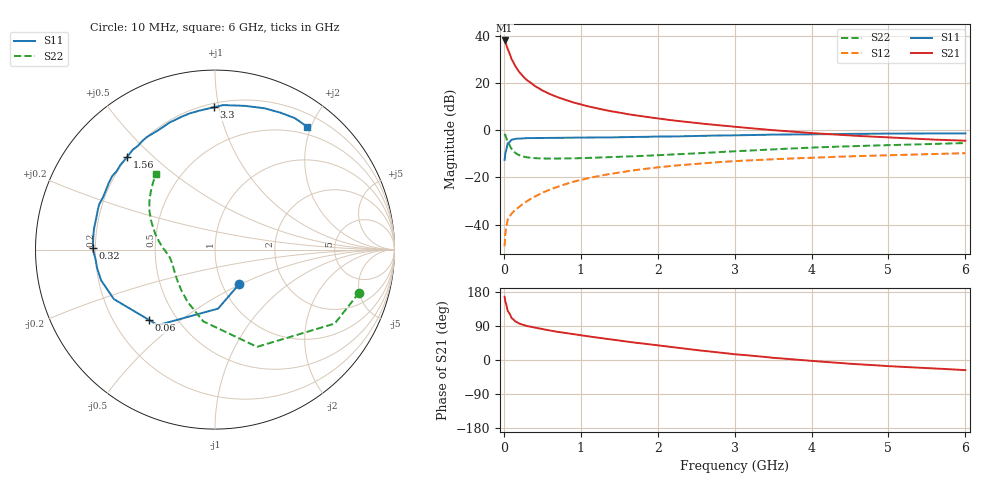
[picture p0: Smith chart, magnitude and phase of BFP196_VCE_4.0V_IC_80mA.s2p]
! Infineon Technologies  Discrete & RF Semiconductors
! BFP196
! VCE = 4.0 V,  IC =  80mA
! Common Emitter S-Parameters:  Jan 2016
# GHz  S  MA  R  50
!  f  S11  S21  S12  S22
! GHz  MAG  ANG  MAG  ANG  MAG  ANG  MAG  ANG
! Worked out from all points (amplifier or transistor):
!   210 points, 10 MHz to 6 GHz, reference 50 ohm
!   highest |S21| = 38.0 dB at 10 MHz (marker M1)
!   |S21| within 3 dB of that: start of sweep to 44.02 MHz
!   unconditionally stable (mu >= 1): 383.7 MHz to 4.471 GHz
!   at 185 MHz: K = 0.81, MSG = 29.1 dB, |S12| = -32.8 dB
!   at 1.52 GHz: K = 1.08, MAG = 10.8 dB, |S12| = -17.8 dB
!   at 6 GHz: K = 0.99, MSG = 2.7 dB, |S12| = -9.8 dB
!   S11 on the Smith chart (normalised r, x): 10 MHz: 1.20, -0.49; 60 MHz: 0.35, -0.39; 320 MHz: 0.19, +0.01; 1.56 GHz: 0.20, +0.41; 3.3 GHz: 0.23, +0.97; 6 GHz: 0.38, +1.94
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0.01  0.2347 -54.8  79.39 166.8  0.0035 78.9  0.8385 -16.6
0.02  0.3292 -87.0  73.49 154.0  0.0065 67.4  0.7841 -31.7
0.05  0.5279 -127.1  53.12 129.4  0.0126 54.6  0.5903 -66.6
0.06  0.5373 -133.1  48.62 126.9  0.0135 53.6  0.5422 -71.2
0.1  0.6272 -153.9  32.12 110.5  0.017 50.6  0.405 -99.3
0.15  0.6574 -164.9  22.37 101.6  0.0206 52.4  0.3293 -117.5
0.2  0.665 -171.2  17.08 96.2  0.0238 56.2  0.2948 -129.3
0.24  0.6674 -175.0  14.36 93.4  0.0268 58.2  0.2792 -136.2
0.3  0.6799 -179.7  11.48 89.7  0.0313 61.6  0.2664 -143.9
0.32  0.6797 179.1  10.92 89.0  0.0329 62.1  0.2639 -145.5
0.4  0.6816 174.5  8.674 85.4  0.0391 63.9  0.2561 -152.3
0.5  0.6842 170.3  6.945 81.6  0.0471 64.9  0.2516 -157.9
0.6  0.6838 166.0  5.793 77.8  0.0553 65.6  0.2504 -161.5
0.8  0.6928 158.7  4.358 71.3  0.0719 64.5  0.2524 -166.5
1.02  0.6936 150.4  3.435 64.6  0.0899 62.5  0.2563 -170.4
1.56  0.7117 133.6  2.261 49.7  0.1314 55.3  0.2746 -177.3
2.02  0.7329 120.7  1.752 38.0  0.1646 48.2  0.2959 176.6
3.1  0.7826 94.5  1.14 13.6  0.2257 31.9  0.3636 160.8
3.3  0.7928 90.5  1.068 9.9  0.2342 29.0  0.3781 157.9
4.1  0.8203 76.6  0.849 -3.9  0.2648 19.0  0.4344 147.4
5.1  0.8472 63.2  0.688 -17.2  0.2977 7.7  0.4878 136.7
6  0.8557 53.2  0.599 -26.7  0.3253 -2.2  0.5335 127.7
